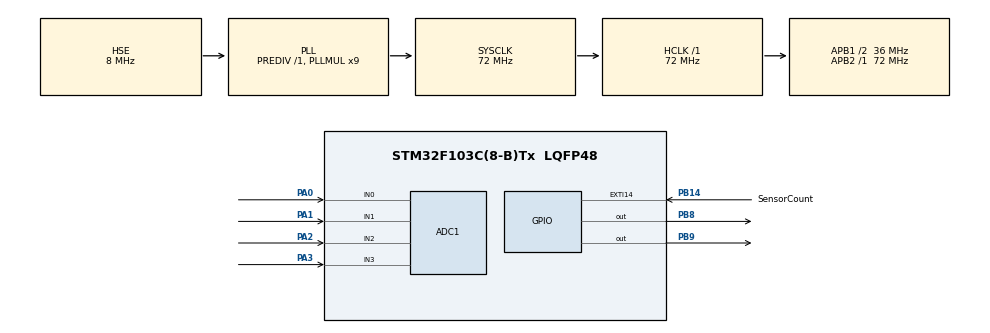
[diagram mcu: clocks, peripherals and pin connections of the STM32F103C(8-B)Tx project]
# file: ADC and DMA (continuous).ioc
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ADC1.Channel-0\#ChannelRegularConversion=ADC_CHANNEL_0
ADC1.Channel-1\#ChannelRegularConversion=ADC_CHANNEL_1
ADC1.Channel-2\#ChannelRegularConversion=ADC_CHANNEL_2
ADC1.Channel-3\#ChannelRegularConversion=ADC_CHANNEL_3
ADC1.ContinuousConvMode=ENABLE
ADC1.NbrOfConversion=4
ADC1.NbrOfConversionFlag=1
ADC1.Rank-0\#ChannelRegularConversion=1
ADC1.Rank-1\#ChannelRegularConversion=2
ADC1.Rank-2\#ChannelRegularConversion=3
ADC1.Rank-3\#ChannelRegularConversion=4
ADC1.SamplingTime-0\#ChannelRegularConversion=ADC_SAMPLETIME_1CYCLE_5
ADC1.SamplingTime-1\#ChannelRegularConversion=ADC_SAMPLETIME_1CYCLE_5
ADC1.SamplingTime-2\#ChannelRegularConversion=ADC_SAMPLETIME_1CYCLE_5
ADC1.SamplingTime-3\#ChannelRegularConversion=ADC_SAMPLETIME_1CYCLE_5
ADC1.master=1
Dma.ADC1.0.Direction=DMA_PERIPH_TO_MEMORY
Dma.ADC1.0.Instance=DMA1_Channel1
Dma.ADC1.0.MemDataAlignment=DMA_MDATAALIGN_HALFWORD
Dma.ADC1.0.MemInc=DMA_MINC_ENABLE
Dma.ADC1.0.Mode=DMA_CIRCULAR
Dma.ADC1.0.PeriphDataAlignment=DMA_PDATAALIGN_HALFWORD
Dma.ADC1.0.PeriphInc=DMA_PINC_DISABLE
Dma.ADC1.0.Priority=DMA_PRIORITY_HIGH
Dma.Request0=ADC1
Mcu.Family=STM32F1
Mcu.Name=STM32F103C(8-B)Tx
Mcu.Package=LQFP48
NVIC.PriorityGroup=NVIC_PRIORITYGROUP_4
NVIC.TIM2_IRQn=true\:0\:0\:false\:false\:true\:true\:true\:true
PA0-WKUP.Signal=ADCx_IN0
PA1.Signal=ADCx_IN1
PA13.Mode=Serial_Wire
PA13.Signal=SYS_JTMS-SWDIO
PA14.Mode=Serial_Wire
PA14.Signal=SYS_JTCK-SWCLK
PA2.Signal=ADCx_IN2
PA3.Signal=ADCx_IN3
PB14.GPIO_Label=SensorCount
PB14.GPIO_ModeDefaultEXTI=GPIO_MODE_IT_FALLING
PB14.Signal=GPXTI14
PB8.GPIO_ModeDefaultOutputPP=GPIO_MODE_OUTPUT_OD
PB8.GPIO_PuPd=GPIO_NOPULL
PB8.Signal=GPIO_Output
PB9.GPIO_ModeDefaultOutputPP=GPIO_MODE_OUTPUT_OD
PB9.GPIO_PuPd=GPIO_NOPULL
PB9.Signal=GPIO_Output
PC14-OSC32_IN.Mode=LSE-External-Oscillator
PC14-OSC32_IN.Signal=RCC_OSC32_IN
PC15-OSC32_OUT.Mode=LSE-External-Oscillator
PC15-OSC32_OUT.Signal=RCC_OSC32_OUT
PD0-OSC_IN.Mode=HSE-External-Oscillator
PD0-OSC_IN.Signal=RCC_OSC_IN
PD1-OSC_OUT.Mode=HSE-External-Oscillator
PD1-OSC_OUT.Signal=RCC_OSC_OUT
ProjectManager.HeapSize=0x200
ProjectManager.StackSize=0x400
ProjectManager.TargetToolchain=MDK-ARM V5.32
RCC.ADCPresc=RCC_ADCPCLK2_DIV6
RCC.AHBFreq_Value=72000000
RCC.APB1CLKDivider=RCC_HCLK_DIV2
RCC.APB1Freq_Value=36000000
RCC.APB1TimFreq_Value=72000000
RCC.APB2Freq_Value=72000000
RCC.APB2TimFreq_Value=72000000
RCC.HCLKFreq_Value=72000000
RCC.PLLMUL=RCC_PLL_MUL9
RCC.PLLSourceVirtual=RCC_PLLSOURCE_HSE
RCC.SYSCLKFreq_VALUE=72000000
RCC.SYSCLKSource=RCC_SYSCLKSOURCE_PLLCLK
RCC.USBFreq_Value=72000000
SH.ADCx_IN0.0=ADC1_IN0,IN0
SH.ADCx_IN1.0=ADC1_IN1,IN1
SH.ADCx_IN2.0=ADC1_IN2,IN2
SH.ADCx_IN3.0=ADC1_IN3,IN3
TIM2.ClockDivision=TIM_CLOCKDIVISION_DIV2
TIM2.Period=1000-1
TIM2.Prescaler=720-1
VP_TIM2_VS_ClockSourceINT.Mode=Internal
board=custom

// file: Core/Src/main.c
/* USER CODE BEGIN Header */
/**
  ******************************************************************************
  * @file           : main.c
  * @brief          : Main program body
  ******************************************************************************
  * @attention
  *
  * Copyright (c) 2024 STMicroelectronics.
  * All rights reserved.
  *
  * This software is licensed under terms that can be found in the LICENSE file
  * in the root directory of this software component.
  * If no LICENSE file comes with this software, it is provided AS-IS.
  *
  ******************************************************************************
  */
/* USER CODE END Header */
#include "main.h"
#include "adc.h"
#include "dma.h"
#include "tim.h"
#include "gpio.h"

/* USER CODE BEGIN Includes */
#include "MyOLED.h"

/* USER CODE END Includes */

/* USER CODE BEGIN PV */
uint16_t AD1;
uint16_t AD2;
uint16_t AD3;
uint16_t AD4;
extern DMA_HandleTypeDef hdma_adc1;
/* USER CODE END PV */

void SystemClock_Config(void);

/* USER CODE BEGIN 0 */
uint16_t AD_Value[4];
HAL_StatusTypeDef hhStatue;

//void HAL_TIM_PeriodElapsedCallback(TIM_HandleTypeDef *htim){
//if(htim==&htim2){
//	OLED_ShowNum(1,5,AD1,4);
//	OLED_ShowNum(2,5,AD2,4);
//	OLED_ShowNum(3,5,AD3,4);
//	OLED_ShowNum(4,5,AD4,4);
//	}
//}
//void StartAndGetResult(){
////重新设置计数器，让它实现再次转运
//	hhStatue=HAL_ADC_Start_DMA(&hadc1,(uint32_t*)AD_Value, 4);//开始ADC转换
//	if(hhStatue!=HAL_OK){
//		AD_Value[0]=0;
//		AD_Value[1]=0;
//		AD_Value[2]=0;
//		AD_Value[3]=0;
//		}
//		while(hdma_adc1.State!=HAL_DMA_STATE_READY);//等待DMA转运数据完成
//		HAL_ADC_Stop_DMA(&hadc1); //停止ADC转换
//}
/* USER CODE END 0 */

int main(void)
{

  /* MCU Configuration--------------------------------------------------------*/

  /* Reset of all peripherals, Initializes the Flash interface and the Systick. */
  HAL_Init();

  /* Configure the system clock */
  SystemClock_Config();

  /* Initialize all configured peripherals */
  MX_GPIO_Init();
  MX_DMA_Init();
  MX_ADC1_Init();
  MX_TIM2_Init();
  /* USER CODE BEGIN 2 */
	OLED_Init();
	HAL_Delay(100);
	HAL_ADCEx_Calibration_Start(&hadc1);
	HAL_ADC_Start_DMA(&hadc1,(uint32_t*) AD_Value, 4);
	OLED_ShowString(1,1,"AD1:");
	OLED_ShowString(2,1,"AD2:");
	OLED_ShowString(3,1,"AD3:");
	OLED_ShowString(4,1,"AD4:");
	HAL_TIM_Base_Start_IT(&htim2);
  /* USER CODE END 2 */

  /* Infinite loop */
  /* USER CODE BEGIN WHILE */
  while (1)
  {
		//StartAndGetResult();
	AD1= AD_Value[0];
	AD2= AD_Value[1];
	AD3= AD_Value[2];
	AD4= AD_Value[3];
	OLED_ShowNum(1,5,AD1,4);
	OLED_ShowNum(2,5,AD2,4);
	OLED_ShowNum(3,5,AD3,4);
	OLED_ShowNum(4,5,AD4,4);

    /* USER CODE END WHILE */

  }
}

void SystemClock_Config(void)
{
  RCC_OscInitTypeDef RCC_OscInitStruct = {0};
  RCC_ClkInitTypeDef RCC_ClkInitStruct = {0};
  RCC_PeriphCLKInitTypeDef PeriphClkInit = {0};

  /** Initializes the RCC Oscillators according to the specified parameters
  * in the RCC_OscInitTypeDef structure.
  */
  RCC_OscInitStruct.OscillatorType = RCC_OSCILLATORTYPE_HSE;
  RCC_OscInitStruct.HSEState = RCC_HSE_ON;
  RCC_OscInitStruct.HSEPredivValue = RCC_HSE_PREDIV_DIV1;
  RCC_OscInitStruct.HSIState = RCC_HSI_ON;
  RCC_OscInitStruct.PLL.PLLState = RCC_PLL_ON;
  RCC_OscInitStruct.PLL.PLLSource = RCC_PLLSOURCE_HSE;
  RCC_OscInitStruct.PLL.PLLMUL = RCC_PLL_MUL9;
  if (HAL_RCC_OscConfig(&RCC_OscInitStruct) != HAL_OK)
  {
    Error_Handler();
  }

  /** Initializes the CPU, AHB and APB buses clocks
  */
  RCC_ClkInitStruct.ClockType = RCC_CLOCKTYPE_HCLK|RCC_CLOCKTYPE_SYSCLK
                              |RCC_CLOCKTYPE_PCLK1|RCC_CLOCKTYPE_PCLK2;
  RCC_ClkInitStruct.SYSCLKSource = RCC_SYSCLKSOURCE_PLLCLK;
  RCC_ClkInitStruct.AHBCLKDivider = RCC_SYSCLK_DIV1;
  RCC_ClkInitStruct.APB1CLKDivider = RCC_HCLK_DIV2;
  RCC_ClkInitStruct.APB2CLKDivider = RCC_HCLK_DIV1;

  if (HAL_RCC_ClockConfig(&RCC_ClkInitStruct, FLASH_LATENCY_2) != HAL_OK)
  {
    Error_Handler();
  }
  PeriphClkInit.PeriphClockSelection = RCC_PERIPHCLK_ADC;
  PeriphClkInit.AdcClockSelection = RCC_ADCPCLK2_DIV6;
  if (HAL_RCCEx_PeriphCLKConfig(&PeriphClkInit) != HAL_OK)
  {
    Error_Handler();
  }
}

void Error_Handler(void)
{
  __disable_irq();
  while (1)
  {
  }
}
